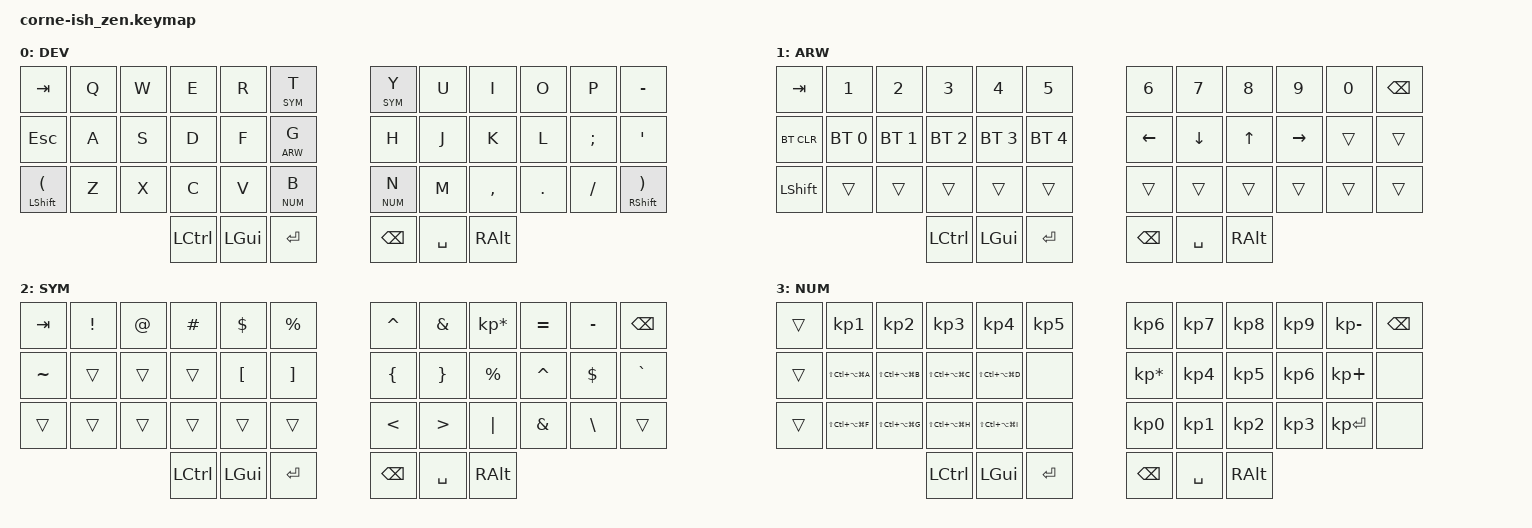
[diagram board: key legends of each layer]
/*
*
* Copyright (c) 2021 Darryl deHaan
* SPDX-License-Identifier: MIT
*
* ref:
* https://zmk.dev/docs/behaviors
* https://zmk.dev/docs/codes
*
*/

#include <behaviors.dtsi>
#include <dt-bindings/zmk/keys.h>
#include <dt-bindings/zmk/bt.h>

#define DEV 0
#define ARW 1
#define SYM 2
#define NUM 3

/ {
        keymap {
                compatible = "zmk,keymap";

                default_layer {
                        label = "DEV";
// -----------------------------------------------------------------------------------------
// | TAB    |  Q  |  W  |  E   |  R  |  T/SYM  |   |  Y/SYM  |  U   |  I  |  O  |  P  |  -     |
// | ESC    |  A  |  S  |  D   |  F  |  G/ARW  |   |  H      |  J   |  K  |  L  |  ;  |  '     |
// | SHFT/( |  Z  |  X  |  C   |  V  |  B/NUM  |   |  N/NUM  |  M   |  ,  |  .  |  /  | SHFT/) |
//                      | CTRL | GUI |  RET    |   |  BKSP   | SPC  | ALT |
                        bindings = <
   &kp TAB        &kp Q &kp W &kp E &kp R &lt SYM T      &lt SYM Y &kp U  &kp I     &kp O   &kp P    &kp MINUS
   &kp ESC        &kp A &kp S &kp D &kp F &lt ARW G      &kp H     &kp J  &kp K     &kp L   &kp SEMI &kp SQT
   &mt LSHFT LPAR &kp Z &kp X &kp C &kp V &lt NUM B      &lt NUM N &kp M  &kp COMMA &kp DOT &kp FSLH &mt RSHFT RPAR
                     &kp LCTRL &kp LGUI &kp RET    &kp BSPC &kp SPACE &kp RALT
                        >;
                };

                lower_layer {
                        label = "ARW";
// -----------------------------------------------------------------------------------------
// |  TAB |  1  |  2  |  3  |  4  |  5  |   |  6  |  7  |  8  |  9  |  0  | BKSP |
// | BTCLR| BT1 | BT2 | BT3 | BT4 | BT5 |   | LFT | DWN |  UP | RGT |     |      |
// | SHFT |     |     |     |     |     |   |     |     |     |     |     |      |
//               | CTRL | GUI |  RET    |   |  BKSP   | SPC  | ALT |
                        bindings = <
   &kp TAB    &kp N1       &kp N2       &kp N3       &kp N4       &kp N5         &kp N6   &kp N7   &kp N8 &kp N9    &kp N0 &kp BSPC
   &bt BT_CLR &bt BT_SEL 0 &bt BT_SEL 1 &bt BT_SEL 2 &bt BT_SEL 3 &bt BT_SEL 4   &kp LEFT &kp DOWN &kp UP &kp RIGHT &trans &trans
   &kp LSHFT  &trans       &trans       &trans       &trans       &trans         &trans   &trans   &trans &trans    &trans &trans
                     &kp LCTRL &kp LGUI &kp RET    &kp BSPC &kp SPACE &kp RALT
                        >;
                };

                raise_layer {
                        label = "SYM";
// -----------------------------------------------------------------------------------------
// |  TAB |  !  |  @  |  #  |  $  |  %  |   |  ^  |  &  |  *  |  =  |  -  | BKSP |
// |  ~   |     |     |     |  [  |  ]  |   |  {  |  }  |  %  |  ^  |  $  |  `   |
// |      |     |     |     |     |     |   |  <  |  >  | '|' |  &  |  \  |      |
//               | CTRL | GUI |  RET    |   |  BKSP   | SPC  | ALT |
                        bindings = <
   &kp TAB &kp EXCL &kp AT &kp HASH &kp DLLR &kp PRCNT   &kp CARET &kp AMPS  &kp KP_MULTIPLY &kp EQUAL  &kp MINUS &kp BSPC
   &kp TILDE  &trans   &trans &trans   &kp LBKT &kp RBKT    &kp LBRC  &kp RBRC  &kp PRCNT       &kp CARET &kp DLLR &kp GRAVE
   &trans  &trans   &trans &trans   &trans   &trans      &kp LT    &kp GT    &kp PIPE        &kp AMPS  &kp BSLH &trans
                     &kp LCTRL &kp LGUI &kp RET    &kp BSPC &kp SPACE &kp RALT
                        >;
                };

                numpad_layer {
                        label = "NUM";
                        bindings = <
   &trans &kp KP_N1 &kp KP_N2 &kp KP_N3 &kp KP_N4 &kp KP_N5                                                                    &kp KP_N6       &kp KP_N7 &kp KP_N8 &kp KP_N9 &kp KP_MINUS &kp BSPC
   &trans &kp LS(LC(LA(LG(A)))) &kp LS(LC(LA(LG(B)))) &kp LS(LC(LA(LG(C)))) &kp LS(LC(LA(LG(D)))) &none    &kp KP_ASTERISK &kp KP_N4 &kp KP_N5 &kp KP_N6 &kp KP_PLUS  &none
   &trans &kp LS(LC(LA(LG(F)))) &kp LS(LC(LA(LG(G)))) &kp LS(LC(LA(LG(H)))) &kp LS(LC(LA(LG(I)))) &none    &kp KP_N0       &kp KP_N1 &kp KP_N2 &kp KP_N3 &kp KP_ENTER &none
                     &kp LCTRL &kp LGUI &kp RET    &kp BSPC &kp SPACE &kp RALT
                        >;
                };
        };
};
